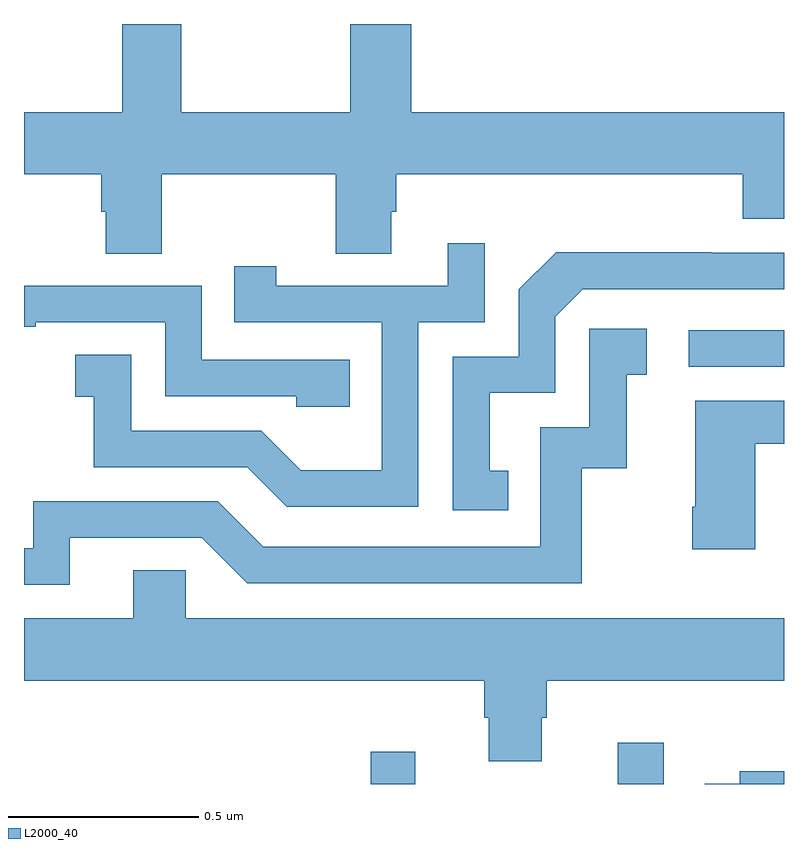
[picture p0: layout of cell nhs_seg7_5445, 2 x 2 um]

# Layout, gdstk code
import gdstk
lib = gdstk.Library(unit=1e-6, precision=1e-09)
def R(c, l, rs):  # rectangles x0, y0, x1, y1
    for r in rs: c.add(gdstk.rectangle(r[:2], r[2:], *l))
def P(c, l, *ps):  # polygons
    for p in ps: c.add(gdstk.Polygon(p, *l))
L2000_40 = (2000, 40)

nhs_seg7_5445 = lib.new_cell('nhs_seg7_5445')
R(nhs_seg7_5445, L2000_40, [(186.913,1011,187.029,1011.085), (187.562,1011,187.684,1011.109), (187.749,1012.098,188,1012.194)])
P(nhs_seg7_5445, L2000_40, [(186.363,1012.604),(186.82,1012.604),(186.82,1012.396),(186.967,1012.396),(186.967,1012.506),(186.98,1012.506),(186.98,1012.604),(187.892,1012.604),(187.892,1012.487),(188,1012.487),(188,1012.768),(187.019,1012.768),(187.019,1013),(186.859,1013),(186.859,1012.768),(186.414,1012.768),(186.414,1013),(186.259,1013),(186.259,1012.768),(186,1012.768),(186,1012.604),(186.203,1012.604),(186.203,1012.506),(186.215,1012.506),(186.215,1012.396),(186.363,1012.396)],
  [(187.038,1012.215),(187.212,1012.215),(187.212,1012.423),(187.115,1012.423),(187.115,1012.311),(186.664,1012.311),(186.664,1012.363),(186.553,1012.363),(186.553,1012.215),(186.942,1012.215),(186.942,1011.826),(186.728,1011.826),(186.624,1011.93),(186.282,1011.93),(186.282,1012.129),(186.135,1012.129),(186.135,1012.019),(186.184,1012.019),(186.184,1011.834),(186.587,1011.834),(186.692,1011.729),(187.038,1011.729)],
  [(187.274,1011.825),(187.225,1011.825),(187.225,1012.029),(187.398,1012.029),(187.398,1012.23),(187.47,1012.302),(188,1012.302),(188,1012.398),(187.808,1012.398),(187.808,1012.4),(187.4,1012.4),(187.302,1012.302),(187.302,1012.125),(187.128,1012.125),(187.128,1011.72),(187.274,1011.72)],
  [(186.857,1012.116),(186.468,1012.116),(186.468,1012.311),(186,1012.311),(186,1012.203),(186.031,1012.203),(186.031,1012.215),(186.372,1012.215),(186.372,1012.02),(186.717,1012.02),(186.717,1011.993),(186.857,1011.993)],
  [(186.121,1011.648),(186.468,1011.648),(186.588,1011.528),(187.468,1011.528),(187.468,1011.831),(187.586,1011.831),(187.586,1012.077),(187.639,1012.077),(187.639,1012.198),(187.488,1012.198),(187.488,1011.939),(187.359,1011.939),(187.359,1011.624),(186.63,1011.624),(186.51,1011.744),(186.024,1011.744),(186.024,1011.621),(186,1011.621),(186,1011.525),(186.121,1011.525)],
  [(187.924,1011.895),(188,1011.895),(188,1012.009),(187.766,1012.009),(187.766,1011.73),(187.759,1011.73),(187.759,1011.618),(187.924,1011.618)],
  [(187.363,1011.174),(187.376,1011.174),(187.376,1011.272),(188,1011.272),(188,1011.436),(186.426,1011.436),(186.426,1011.563),(186.287,1011.563),(186.287,1011.436),(186,1011.436),(186,1011.272),(187.211,1011.272),(187.211,1011.174),(187.223,1011.174),(187.223,1011.06),(187.363,1011.06)],
  [(188,1011.034),(187.883,1011.034),(187.883,1011.001),(187.791,1011.001),(187.791,1011),(188,1011)])

lib.write_gds('nhs_seg7_5445.gds')
